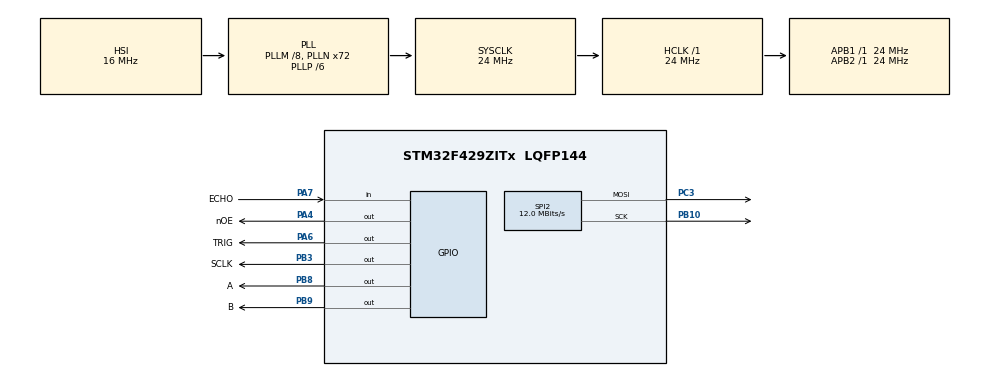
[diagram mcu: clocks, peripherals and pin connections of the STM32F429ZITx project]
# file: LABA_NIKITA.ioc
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Mcu.Family=STM32F4
Mcu.Name=STM32F429ZITx
Mcu.Package=LQFP144
NVIC.PriorityGroup=NVIC_PRIORITYGROUP_4
NVIC.TIM1_CC_IRQn=true\:0\:0\:false\:false\:true\:true\:true\:true
NVIC.TIM1_UP_TIM10_IRQn=true\:0\:0\:false\:false\:true\:true\:true\:true
PA13.Mode=Serial_Wire
PA13.Signal=SYS_JTMS-SWDIO
PA14.Mode=Serial_Wire
PA14.Signal=SYS_JTCK-SWCLK
PA4.GPIO_Label=nOE
PA4.Signal=GPIO_Output
PA6.GPIO_Label=TRIG
PA6.Signal=GPIO_Output
PA7.GPIO_Label=ECHO
PA7.Signal=GPIO_Input
PB10.Mode=TX_Only_Simplex_Unidirect_Master
PB10.Signal=SPI2_SCK
PB3.GPIO_Label=SCLK
PB3.Signal=GPIO_Output
PB8.GPIO_Label=A
PB8.Signal=GPIO_Output
PB9.GPIO_Label=B
PB9.Signal=GPIO_Output
PC3.Mode=TX_Only_Simplex_Unidirect_Master
PC3.Signal=SPI2_MOSI
PH0/OSC_IN.Mode=HSE-External-Oscillator
PH0/OSC_IN.Signal=RCC_OSC_IN
PH1/OSC_OUT.Mode=HSE-External-Oscillator
PH1/OSC_OUT.Signal=RCC_OSC_OUT
ProjectManager.HeapSize=0x200
ProjectManager.StackSize=0x400
ProjectManager.TargetToolchain=STM32CubeIDE
RCC.48MHZClocksFreq_Value=36000000
RCC.AHBFreq_Value=24000000
RCC.APB1Freq_Value=24000000
RCC.APB1TimFreq_Value=24000000
RCC.APB2Freq_Value=24000000
RCC.APB2TimFreq_Value=24000000
RCC.CortexFreq_Value=24000000
RCC.HCLKFreq_Value=24000000
RCC.HSE_VALUE=25000000
RCC.HSI_VALUE=16000000
RCC.LSE_VALUE=32768
RCC.PLLM=8
RCC.PLLN=72
RCC.PLLP=RCC_PLLP_DIV6
RCC.SYSCLKFreq_VALUE=24000000
RCC.SYSCLKSource=RCC_SYSCLKSOURCE_PLLCLK
RCC.VCOOutputFreq_Value=144000000
SPI2.CalculateBaudRate=12.0 MBits/s
SPI2.Direction=SPI_DIRECTION_2LINES
SPI2.Mode=SPI_MODE_MASTER
SPI2.VirtualType=VM_MASTER
TIM1.Period=20000-1
TIM1.Prescaler=24-1
VP_TIM1_VS_ClockSourceINT.Mode=Internal
board=custom

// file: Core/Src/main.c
/* USER CODE BEGIN Header */
/**
  ******************************************************************************
  * @file           : main.c
  * @brief          : Main program body
  ******************************************************************************
  * @attention
  *
  * Copyright (c) 2023 STMicroelectronics.
  * All rights reserved.
  *
  * This software is licensed under terms that can be found in the LICENSE file
  * in the root directory of this software component.
  * If no LICENSE file comes with this software, it is provided AS-IS.
  *
  ******************************************************************************
  */
/* USER CODE END Header */
#include "main.h"
#include "spi.h"
#include "tim.h"
#include "gpio.h"

/* USER CODE BEGIN Includes */
#include "disp1color.h"
#include "font.h"
/* USER CODE END Includes */

/* USER CODE BEGIN PV */
uint16_t xs = 15;
float ys = 8;
float xh = 38;
float yh = 0;
float xh1 = 32;
float yh1 = 0;
uint8_t h_HEIGHT[20] = {5, 2, 6, 7, 4, 3, 6, 5, 2, 7, 4, 8, 7, 3, 4, 3, 2, 5,
		2, 6 };
uint8_t l_HEIGHT[20] = { 12, 9, 14, 15, 11, 10, 14, 12, 9, 14, 11, 15, 14, 10,
		11, 10, 9, 12, 9, 14 };
float xl, yl, xl1, yl1;
uint16_t xe, ye, isdead, Pisdead;
uint8_t jump_flag = 0;
uint16_t tim1_counter, tim3_counter;
uint8_t prop_count = 0;
uint16_t adc;
uint32_t IC_Val1 = 0;
uint32_t IC_Val2 = 0;
uint32_t Difference = 0;
uint8_t Is_First_Captured = 0;  // is the first value captured ?
uint8_t Distance  = 0;
/* USER CODE END PV */

void SystemClock_Config(void);

/* USER CODE BEGIN 0 */
extern volatile uint16_t flag;

extern uint8_t data1[16], data2[16], data3[16], data4[16];

void disp_row(int row);
void HAL_TIM_IC_CaptureCallback(TIM_HandleTypeDef *htim);
void HCSR04_Read (void);
/* USER CODE END 0 */

int main(void)
{
  /* USER CODE BEGIN 1 */
Pisdead = 0;
  /* USER CODE END 1 */

  /* MCU Configuration--------------------------------------------------------*/

  /* Reset of all peripherals, Initializes the Flash interface and the Systick. */
  HAL_Init();

  /* Configure the system clock */
  SystemClock_Config();

  /* Initialize all configured peripherals */
  MX_GPIO_Init();
  MX_SPI2_Init();
  MX_TIM1_Init();
  /* USER CODE BEGIN 2 */
  HAL_TIM_Base_Start_IT(&htim1);
  HAL_TIM_IC_Start_IT(&htim1, TIM_CHANNEL_1);
  HAL_GPIO_WritePin(nOE_GPIO_Port, nOE_Pin, GPIO_PIN_RESET);

  isdead = 0;

  char *pMyStr = "You";  //Строка на вывод
  char *pMyStr2 = "Lose";
  /* USER CODE END 2 */

  /* Infinite loop */
  /* USER CODE BEGIN WHILE */
  while (1)
  {
	  HCSR04_Read();
		tim1_counter = HAL_GPIO_ReadPin(ECHO_GPIO_Port, ECHO_Pin);

	  if ((flag == 1) &&(Pisdead == 0)){
	  		  	  	xh = xh-0.5;
	  		  	  	if (xh<-6){
	  		  	  		prop_count++;
	  		  	  		if (prop_count>15){
	  		  	  			prop_count=0;
	  		  	  		}
	  		  	  		xh = 38;
	  		  	  	}
	  		  	  	xh1 = xh + 6;
	  		  	  	yh = 0;
	  		  	  	yl = 16;
	  		  	  	yh1 = h_HEIGHT[prop_count];
	  		  	  	yl1 = l_HEIGHT[prop_count];
	  	  			ys = ys + 0.33;

	  	  			if (ys > 13) ys=13;
	  	  			if (ys < 3) ys = 3;
//	  	  			if (((xs-1)>=xh) && (ys<=yh1)&&((xs-1)<=xh1)){
//	  	  				Pisdead++;
////	  	  				break;
//	  	  			}
//	  			if ((xs>=xh) && (xs<=xh1) && ((ys+1) >= yl1))
//	  			{
//	  				Pisdead++;
////	  				break;
//	  			}
	  	  			flag = 0;
	  	  		}
	  	  		if (Pisdead == 0){
	  	  		// ochishenie ekrana
	  	  		disp1color_FillScreenbuff(0);
	  	  		//ptichka
	      		disp1color_DrawLine(xs, (int)ys, xs-1, (int)ys);
	      		disp1color_DrawLine(xs-1,(int)ys+1,xs+1,(int)ys+1);
	      		//props
//	      		disp1color_DrawRectangle(3,3,13,13);
	      		disp1color_DrawRectangle((int)xh,(int)yh,(int)xh1,(int)yh1);//high prop
	      		disp1color_DrawRectangle((int)xh,(int)yl,(int)xh1,(int)yl1);//low prop
	  	  		}
	  //	  		if (Pisdead){
	  ////	  			disp1color_FillScreenbuff(0); kakogo huya pishet bukvi v alfavitnom poryadke
	  ////	  			disp1color_DrawString(0, 0, FONTID_6X8M, pMyStr);
	  ////	  			disp1color_DrawString(0, 0, FONTID_6X8M, pMyStr2);
	  //	  		}

    /* USER CODE END WHILE */

    /* USER CODE BEGIN 3 */
		disp1color_UpdateFromBuff(); //Перевод рассчитанных данных в массив
		prepare_data(); //Разбиение массива на массивы под каждую строку

		//Включение матрицы (построчно)
		for (uint8_t i = 0; i < 20; i++) {
			disp_row(0);
			disp_row(1);
			disp_row(2);
			disp_row(3);
		}
  }
  /* USER CODE END 3 */
}

void SystemClock_Config(void)
{
  RCC_OscInitTypeDef RCC_OscInitStruct = {0};
  RCC_ClkInitTypeDef RCC_ClkInitStruct = {0};

  /** Configure the main internal regulator output voltage
  */
  __HAL_RCC_PWR_CLK_ENABLE();
  __HAL_PWR_VOLTAGESCALING_CONFIG(PWR_REGULATOR_VOLTAGE_SCALE3);

  /** Initializes the RCC Oscillators according to the specified parameters
  * in the RCC_OscInitTypeDef structure.
  */
  RCC_OscInitStruct.OscillatorType = RCC_OSCILLATORTYPE_HSI;
  RCC_OscInitStruct.HSIState = RCC_HSI_ON;
  RCC_OscInitStruct.HSICalibrationValue = RCC_HSICALIBRATION_DEFAULT;
  RCC_OscInitStruct.PLL.PLLState = RCC_PLL_ON;
  RCC_OscInitStruct.PLL.PLLSource = RCC_PLLSOURCE_HSI;
  RCC_OscInitStruct.PLL.PLLM = 8;
  RCC_OscInitStruct.PLL.PLLN = 72;
  RCC_OscInitStruct.PLL.PLLP = RCC_PLLP_DIV6;
  RCC_OscInitStruct.PLL.PLLQ = 4;
  if (HAL_RCC_OscConfig(&RCC_OscInitStruct) != HAL_OK)
  {
    Error_Handler();
  }

  /** Initializes the CPU, AHB and APB buses clocks
  */
  RCC_ClkInitStruct.ClockType = RCC_CLOCKTYPE_HCLK|RCC_CLOCKTYPE_SYSCLK
                              |RCC_CLOCKTYPE_PCLK1|RCC_CLOCKTYPE_PCLK2;
  RCC_ClkInitStruct.SYSCLKSource = RCC_SYSCLKSOURCE_PLLCLK;
  RCC_ClkInitStruct.AHBCLKDivider = RCC_SYSCLK_DIV1;
  RCC_ClkInitStruct.APB1CLKDivider = RCC_HCLK_DIV1;
  RCC_ClkInitStruct.APB2CLKDivider = RCC_HCLK_DIV1;

  if (HAL_RCC_ClockConfig(&RCC_ClkInitStruct, FLASH_LATENCY_0) != HAL_OK)
  {
    Error_Handler();
  }
}

/* USER CODE BEGIN 4 */
void disp_row(int row){

  	  if (row == 0){

  		  for(uint8_t i=0; i<6; i++){
  		  		HAL_SPI_Transmit(&hspi2, &data1, 16, 10);
  		  }

  		  HAL_GPIO_WritePin(SCLK_GPIO_Port, SCLK_Pin, GPIO_PIN_RESET);
  		  HAL_GPIO_WritePin(SCLK_GPIO_Port, SCLK_Pin, GPIO_PIN_SET);

  		  HAL_GPIO_WritePin(A_GPIO_Port, A_Pin, GPIO_PIN_RESET);
  		  HAL_GPIO_WritePin(B_GPIO_Port, B_Pin, GPIO_PIN_RESET);
  	  }
  	  if (row == 1){

  		  for(uint8_t i=0; i<6; i++){
  		  		HAL_SPI_Transmit(&hspi2, &data2, 16, 10);
  		  }

  		  HAL_GPIO_WritePin(SCLK_GPIO_Port, SCLK_Pin, GPIO_PIN_RESET);
  		  HAL_GPIO_WritePin(SCLK_GPIO_Port, SCLK_Pin, GPIO_PIN_SET);

  		  HAL_GPIO_WritePin(A_GPIO_Port, A_Pin, GPIO_PIN_SET);
  		  HAL_GPIO_WritePin(B_GPIO_Port, B_Pin, GPIO_PIN_RESET);
  	  }

  	  if (row == 2){

  		  for(uint8_t i=0; i<6; i++){
  		  		HAL_SPI_Transmit(&hspi2, &data3, 16, 10);
  		  }

  		  HAL_GPIO_WritePin(SCLK_GPIO_Port, SCLK_Pin, GPIO_PIN_RESET);
  		  HAL_GPIO_WritePin(SCLK_GPIO_Port, SCLK_Pin, GPIO_PIN_SET);

  		  HAL_GPIO_WritePin(A_GPIO_Port, A_Pin, GPIO_PIN_RESET);
  		  HAL_GPIO_WritePin(B_GPIO_Port, B_Pin, GPIO_PIN_SET);
  	  }

  	  if (row == 3){

  		  for(uint8_t i=0; i<6; i++){
  		  		HAL_SPI_Transmit(&hspi2, &data4, 16, 10);
  		  }

  		  HAL_GPIO_WritePin(SCLK_GPIO_Port, SCLK_Pin, GPIO_PIN_RESET);
  		  HAL_GPIO_WritePin(SCLK_GPIO_Port, SCLK_Pin, GPIO_PIN_SET);

  		  HAL_GPIO_WritePin(A_GPIO_Port, A_Pin, GPIO_PIN_SET);
  		  HAL_GPIO_WritePin(B_GPIO_Port, B_Pin, GPIO_PIN_SET);
  	  }

  	  HAL_GPIO_WritePin(nOE_GPIO_Port, nOE_Pin, GPIO_PIN_SET);
  		  for(uint32_t x=0; x<=500; x++) {};
  	 HAL_GPIO_WritePin(nOE_GPIO_Port, nOE_Pin, GPIO_PIN_RESET);
    }

void HAL_TIM_IC_CaptureCallback(TIM_HandleTypeDef *htim)
{
	if (htim->Channel == HAL_TIM_ACTIVE_CHANNEL_1)  // if the interrupt source is channel1
	{
		if (Is_First_Captured==0) // if the first value is not captured
		{
			IC_Val1 = HAL_TIM_ReadCapturedValue(htim, TIM_CHANNEL_1); // read the first value
			Is_First_Captured = 1;  // set the first captured as true
			// Now change the polarity to falling edge
			__HAL_TIM_SET_CAPTUREPOLARITY(htim, TIM_CHANNEL_1, TIM_INPUTCHANNELPOLARITY_FALLING);
		}

		else if (Is_First_Captured==1)   // if the first is already captured
		{
			IC_Val2 = HAL_TIM_ReadCapturedValue(htim, TIM_CHANNEL_1);  // read second value
			__HAL_TIM_SET_COUNTER(htim, 0);  // reset the counter

			if (IC_Val2 > IC_Val1)
			{
				Difference = IC_Val2-IC_Val1;
			}

			else if (IC_Val1 > IC_Val2)
			{
				Difference = (0xffff - IC_Val1) + IC_Val2;
			}

			Distance = Difference * .034/2;
			Is_First_Captured = 0; // set it back to false

			// set polarity to rising edge
			__HAL_TIM_SET_CAPTUREPOLARITY(htim, TIM_CHANNEL_1, TIM_INPUTCHANNELPOLARITY_RISING);
			__HAL_TIM_DISABLE_IT(&htim1, TIM_IT_CC1);
		}
	}
}

void HCSR04_Read (void)
{
	HAL_GPIO_WritePin(TRIG_GPIO_Port, TRIG_Pin, GPIO_PIN_SET);  // pull the TRIG pin HIGH
	HAL_Delay(10);  // wait for 10 us
	HAL_GPIO_WritePin(TRIG_GPIO_Port, TRIG_Pin, GPIO_PIN_RESET);  // pull the TRIG pin low

	__HAL_TIM_ENABLE_IT(&htim1, TIM_IT_CC1);
}
/* USER CODE END 4 */

void Error_Handler(void)
{
  __disable_irq();
  while (1)
  {
  }
}
